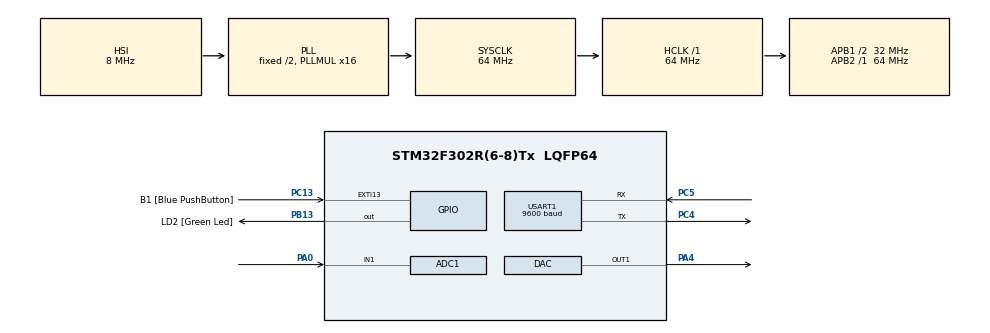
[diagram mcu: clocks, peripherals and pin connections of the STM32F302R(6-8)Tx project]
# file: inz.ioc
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ADC1.Channel-0\#ChannelRegularConversion=ADC_CHANNEL_1
ADC1.ClockPrescaler=ADC_CLOCK_ASYNC_DIV1
ADC1.ContinuousConvMode=ENABLE
ADC1.DMAContinuousRequests=ENABLE
ADC1.DataAlign=ADC_DATAALIGN_RIGHT
ADC1.DiscontinuousConvMode=DISABLE
ADC1.EOCSelection=ADC_EOC_SINGLE_CONV
ADC1.EnableAnalogWatchDog1=false
ADC1.EnableAnalogWatchDog2=false
ADC1.EnableAnalogWatchDog3=false
ADC1.EnableInjectedConversion=ENABLE
ADC1.EnableRegularConversion=ENABLE
ADC1.ExternalTrigConv=ADC_SOFTWARE_START
ADC1.ExternalTrigConvEdge=ADC_EXTERNALTRIGCONVEDGE_NONE
ADC1.InjNumberOfConversion=0
ADC1.LowPowerAutoWait=DISABLE
ADC1.NbrOfConversion=1
ADC1.NbrOfConversionFlag=1
ADC1.Offset-0\#ChannelRegularConversion=0
ADC1.OffsetNumber-0\#ChannelRegularConversion=ADC_OFFSET_NONE
ADC1.Overrun=ADC_OVR_DATA_OVERWRITTEN
ADC1.Rank-0\#ChannelRegularConversion=1
ADC1.Resolution=ADC_RESOLUTION_12B
ADC1.SamplingTime-0\#ChannelRegularConversion=ADC_SAMPLETIME_1CYCLE_5
ADC1.ScanConvMode=ADC_SCAN_DISABLE
ADC1.SubFamily=STM32F302x8
ADC1.master=1
DAC.DAC_Trigger=DAC_TRIGGER_T6_TRGO
Dma.ADC1.1.Direction=DMA_PERIPH_TO_MEMORY
Dma.ADC1.1.Instance=DMA1_Channel1
Dma.ADC1.1.MemDataAlignment=DMA_MDATAALIGN_HALFWORD
Dma.ADC1.1.MemInc=DMA_MINC_ENABLE
Dma.ADC1.1.Mode=DMA_CIRCULAR
Dma.ADC1.1.PeriphDataAlignment=DMA_PDATAALIGN_HALFWORD
Dma.ADC1.1.PeriphInc=DMA_PINC_DISABLE
Dma.ADC1.1.Priority=DMA_PRIORITY_LOW
Dma.DAC_CH1.0.Direction=DMA_MEMORY_TO_PERIPH
Dma.DAC_CH1.0.Instance=DMA1_Channel3
Dma.DAC_CH1.0.MemDataAlignment=DMA_MDATAALIGN_HALFWORD
Dma.DAC_CH1.0.MemInc=DMA_MINC_ENABLE
Dma.DAC_CH1.0.Mode=DMA_CIRCULAR
Dma.DAC_CH1.0.PeriphDataAlignment=DMA_PDATAALIGN_HALFWORD
Dma.DAC_CH1.0.PeriphInc=DMA_PINC_DISABLE
Dma.DAC_CH1.0.Priority=DMA_PRIORITY_LOW
Dma.Request0=DAC_CH1
Dma.Request1=ADC1
Mcu.Family=STM32F3
Mcu.Name=STM32F302R(6-8)Tx
Mcu.Package=LQFP64
NVIC.ADC1_IRQn=true\:0\:0\:false\:false\:true\:true
NVIC.DMA1_Channel1_IRQn=true\:0\:0\:false\:false\:true\:false
NVIC.DMA1_Channel3_IRQn=true\:0\:0\:false\:false\:true\:false
NVIC.PriorityGroup=NVIC_PRIORITYGROUP_0
NVIC.TIM6_DAC_IRQn=true\:0\:0\:false\:false\:true\:true
PA0.Mode=IN1-Single-Ended
PA0.Signal=ADC1_IN1
PA13.GPIO_Label=TMS
PA13.Signal=SYS_JTMS-SWDIO
PA14.GPIO_Label=TCK
PA14.Signal=SYS_JTCK-SWCLK
PA2.GPIO_Label=USART_TX
PA2.GPIO_Mode=GPIO_MODE_AF_PP
PA2.GPIO_PuPd=GPIO_NOPULL
PA2.GPIO_Speed=GPIO_SPEED_FREQ_LOW
PA2.Signal=USART2_TX
PA3.GPIO_Label=USART_RX
PA3.GPIO_Mode=GPIO_MODE_AF_PP
PA3.GPIO_PuPd=GPIO_NOPULL
PA3.GPIO_Speed=GPIO_SPEED_FREQ_LOW
PA3.Signal=USART2_RX
PA4.Signal=COMP_DAC1_group
PB13.GPIO_Label=LD2 [Green Led]
PB13.Signal=GPIO_Output
PB3.GPIO_Label=SWO
PB3.Signal=SYS_JTDO-TRACESWO
PC13.GPIO_Label=B1 [Blue PushButton]
PC13.GPIO_ModeDefaultEXTI=GPIO_MODE_IT_FALLING
PC13.Signal=GPXTI13
PC14\ -\ OSC32_IN.Signal=RCC_OSC32_IN
PC15\ -\ OSC32_OUT.Signal=RCC_OSC32_OUT
PC4.Mode=Asynchronous
PC4.Signal=USART1_TX
PC5.Mode=Asynchronous
PC5.Signal=USART1_RX
PF0-OSC_IN.Signal=RCC_OSC_IN
PF1-OSC_OUT.Signal=RCC_OSC_OUT
ProjectManager.HeapSize=0x200
ProjectManager.StackSize=0x400
ProjectManager.TargetToolchain=TrueSTUDIO
RCC.AHBFreq_Value=64000000
RCC.APB1CLKDivider=RCC_HCLK_DIV2
RCC.APB1Freq_Value=32000000
RCC.APB1TimFreq_Value=64000000
RCC.APB2Freq_Value=64000000
RCC.APB2TimFreq_Value=64000000
RCC.CortexFreq_Value=64000000
RCC.HCLKFreq_Value=64000000
RCC.HSE_VALUE=8000000
RCC.HSI_VALUE=8000000
RCC.LSE_VALUE=32768
RCC.PLLM=8
RCC.PLLMUL=RCC_PLL_MUL16
RCC.PLLN=336
RCC.PLLP=RCC_PLLP_DIV4
RCC.PLLQ=7
RCC.RCC_PLLsource_Clock_Source_FROM_HSE=RCC_HSE_PREDIV_DIV2
RCC.SYSCLKFreq_VALUE=64000000
RCC.SYSCLKSourceVirtual=RCC_SYSCLKSOURCE_PLLCLK
RCC.USBFreq_Value=64000000
SH.COMP_DAC1_group.0=DAC_OUT1,DAC_OUT1
TIM6.AutoReloadPreload=TIM_AUTORELOAD_PRELOAD_ENABLE
TIM6.Period=999
TIM6.Prescaler=16
TIM6.TIM_MasterOutputTrigger=TIM_TRGO_UPDATE
USART1.BaudRate=9600
USART1.VirtualMode-Asynchronous=VM_ASYNC
USART1.WordLength=WORDLENGTH_8B
VP_TIM6_VS_ClockSourceINT.Mode=Enable_Timer
board=NUCLEO-F302R8

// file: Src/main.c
/**
  ******************************************************************************
  * File Name          : main.c
  * Description        : Main program body
  ******************************************************************************
  ** This notice applies to any and all portions of this file
  * that are not between comment pairs USER CODE BEGIN and
  * USER CODE END. Other portions of this file, whether
  * inserted by the user or by software development tools
  * are owned by their respective copyright owners.
  *
  * COPYRIGHT(c) 2017 STMicroelectronics
  *
  * Redistribution and use in source and binary forms, with or without modification,
  * are permitted provided that the following conditions are met:
  *   1. Redistributions of source code must retain the above copyright notice,
  *      this list of conditions and the following disclaimer.
  *   2. Redistributions in binary form must reproduce the above copyright notice,
  *      this list of conditions and the following disclaimer in the documentation
  *      and/or other materials provided with the distribution.
  *   3. Neither the name of STMicroelectronics nor the names of its contributors
  *      may be used to endorse or promote products derived from this software
  *      without specific prior written permission.
  *
  * THIS SOFTWARE IS PROVIDED BY THE COPYRIGHT HOLDERS AND CONTRIBUTORS "AS IS"
  * AND ANY EXPRESS OR IMPLIED WARRANTIES, INCLUDING, BUT NOT LIMITED TO, THE
  * IMPLIED WARRANTIES OF MERCHANTABILITY AND FITNESS FOR A PARTICULAR PURPOSE ARE
  * DISCLAIMED. IN NO EVENT SHALL THE COPYRIGHT HOLDER OR CONTRIBUTORS BE LIABLE
  * FOR ANY DIRECT, INDIRECT, INCIDENTAL, SPECIAL, EXEMPLARY, OR CONSEQUENTIAL
  * DAMAGES (INCLUDING, BUT NOT LIMITED TO, PROCUREMENT OF SUBSTITUTE GOODS OR
  * SERVICES; LOSS OF USE, DATA, OR PROFITS; OR BUSINESS INTERRUPTION) HOWEVER
  * CAUSED AND ON ANY THEORY OF LIABILITY, WHETHER IN CONTRACT, STRICT LIABILITY,
  * OR TORT (INCLUDING NEGLIGENCE OR OTHERWISE) ARISING IN ANY WAY OUT OF THE USE
  * OF THIS SOFTWARE, EVEN IF ADVISED OF THE POSSIBILITY OF SUCH DAMAGE.
  *
  ******************************************************************************
  */
#include "main.h"
#include "stm32f3xx_hal.h"
#include "functions.h"

ADC_HandleTypeDef hadc1;
DMA_HandleTypeDef hdma_adc1;

DAC_HandleTypeDef hdac;
DMA_HandleTypeDef hdma_dac_ch1;

TIM_HandleTypeDef htim6;

UART_HandleTypeDef huart1;

/* USER CODE BEGIN PV */
/* Private variables ---------------------------------------------------------*/

const uint16_t Sine12bit[32] = { 2047, 2447, 2831, 3185, 3498, 3750, 3939, 4056, 4095, 4056,
                      3939, 3750, 3495, 3185, 2831, 2447, 2047, 1647, 1263, 909,
                      599, 344, 155, 38, 0, 38, 155, 344, 599, 909, 1263, 1647};
HAL_StatusTypeDef status= HAL_OK;
uint8_t stan=0;
uint8_t zmienna=0;
uint16_t prescaler=0;
uint16_t PSC_Var1=0;
uint16_t PSC_Var2=0;
uint16_t PSC_Value=0;
uint16_t F_start=0;
uint16_t F_end=0;
uint16_t F_change=0;

/* USER CODE END PV */

void SystemClock_Config(void);
static void MX_GPIO_Init(void);
static void MX_DMA_Init(void);
static void MX_ADC1_Init(void);
static void MX_TIM6_Init(void);
static void MX_DAC_Init(void);
static void MX_USART1_UART_Init(void);

/* USER CODE BEGIN PFP */
/* Private function prototypes -----------------------------------------------*/

/* USER CODE END PFP */

int main(void)
{

  /* MCU Configuration----------------------------------------------------------*/

  /* Reset of all peripherals, Initializes the Flash interface and the Systick. */
  HAL_Init();

  /* Configure the system clock */
  SystemClock_Config();

  /* Initialize all configured peripherals */
  MX_GPIO_Init();
  MX_DMA_Init();
  MX_ADC1_Init();
  MX_TIM6_Init();
  MX_DAC_Init();
  MX_USART1_UART_Init();

  /* USER CODE BEGIN 2 */

  HAL_TIM_Base_Start(&htim6);
  HAL_DAC_Start(&hdac,DAC_CHANNEL_1);
  HAL_DAC_Start_DMA(&hdac,DAC_CHANNEL_1,Sine12bit,32,DAC_ALIGN_12B_R);
  /*ADC*/

  /* USER CODE END 2 */

  /* Infinite loop */
  while (1)
  {
	  switch(stan){
	  	  case 0:
	  	  {
	  		  status=HAL_UART_Receive(&huart1,&zmienna,1,1000);
	  			if(status == HAL_OK)
	  			{
	  				switch(zmienna)
	  				{
	  					case 97:{
	  							Measure_and_send( Sine12bit);
	  							zmienna=0;
	  					}break;
	  					case 99:{
	  							stan=1;
	  							zmienna=0;
	  					}break;
	  					case 105:{
	  							stan=3;
	  							zmienna=0;
	  					}break;
	  				}
	  			}
	  	  }	break;

	  	  case 1:
	  	  {

	  			status=HAL_UART_Receive(&huart1,&PSC_Var1,1,1000);
	  			if(status == HAL_OK)
	  				{
	  					stan=2;
	  				}
	  	  }break;
	  	  case 2:
	  	  {
	  		  status=HAL_UART_Receive(&huart1,&PSC_Var2,1,1000);
	  		  if(status == HAL_OK)
	  		  {
	  			  PSC_Value=PSC_Var1+PSC_Var2*256; //Prescaler value
	  			  HAL_UART_Transmit(&huart1,&PSC_Value,2,1000);
	  			  Change_Freq_Manualy(Sine12bit,PSC_Value);
	  			  stan=0;
	  		  }
	  	  }break;
	  	  case 3:{
	  		  	  status=HAL_UART_Receive(&huart1,&F_start,1,1000);
	  			  if(status == HAL_OK)
	  			  {
	  				  stan=4;
	  			  }
	  	  }break;
	  	  case 4:{
	  		  	 status=HAL_UART_Receive(&huart1,&F_end,1,1000);
	  		 	 if(status == HAL_OK)
	  			 {
	  		 		 stan=5;
	  			 }
	  	  }break;
	  	  case 5:{
	  		  	status=HAL_UART_Receive(&huart1,&F_change,1,1000);
	  		  	if(status == HAL_OK)
	  		  	{
	  		  		Impedance_auto_measure(F_start, F_end,F_change,Sine12bit);
	  		  		stan=0;
	  		  	}
	  	 }break;
	  	  default:
	  		  break;
   }
}
}
/** System Clock Configuration
*/
void SystemClock_Config(void)
{

  RCC_OscInitTypeDef RCC_OscInitStruct;
  RCC_ClkInitTypeDef RCC_ClkInitStruct;
  RCC_PeriphCLKInitTypeDef PeriphClkInit;

    /**Initializes the CPU, AHB and APB busses clocks
    */
  RCC_OscInitStruct.OscillatorType = RCC_OSCILLATORTYPE_HSI;
  RCC_OscInitStruct.HSIState = RCC_HSI_ON;
  RCC_OscInitStruct.HSICalibrationValue = 16;
  RCC_OscInitStruct.PLL.PLLState = RCC_PLL_ON;
  RCC_OscInitStruct.PLL.PLLSource = RCC_PLLSOURCE_HSI;
  RCC_OscInitStruct.PLL.PLLMUL = RCC_PLL_MUL16;
  if (HAL_RCC_OscConfig(&RCC_OscInitStruct) != HAL_OK)
  {
    _Error_Handler(__FILE__, __LINE__);
  }

    /**Initializes the CPU, AHB and APB busses clocks
    */
  RCC_ClkInitStruct.ClockType = RCC_CLOCKTYPE_HCLK|RCC_CLOCKTYPE_SYSCLK
                              |RCC_CLOCKTYPE_PCLK1|RCC_CLOCKTYPE_PCLK2;
  RCC_ClkInitStruct.SYSCLKSource = RCC_SYSCLKSOURCE_PLLCLK;
  RCC_ClkInitStruct.AHBCLKDivider = RCC_SYSCLK_DIV1;
  RCC_ClkInitStruct.APB1CLKDivider = RCC_HCLK_DIV2;
  RCC_ClkInitStruct.APB2CLKDivider = RCC_HCLK_DIV1;

  if (HAL_RCC_ClockConfig(&RCC_ClkInitStruct, FLASH_LATENCY_2) != HAL_OK)
  {
    _Error_Handler(__FILE__, __LINE__);
  }

  PeriphClkInit.PeriphClockSelection = RCC_PERIPHCLK_USART1|RCC_PERIPHCLK_ADC1;
  PeriphClkInit.Usart1ClockSelection = RCC_USART1CLKSOURCE_PCLK1;
  PeriphClkInit.Adc1ClockSelection = RCC_ADC1PLLCLK_DIV1;

  if (HAL_RCCEx_PeriphCLKConfig(&PeriphClkInit) != HAL_OK)
  {
    _Error_Handler(__FILE__, __LINE__);
  }

    /**Configure the Systick interrupt time
    */
  HAL_SYSTICK_Config(HAL_RCC_GetHCLKFreq()/1000);

    /**Configure the Systick
    */
  HAL_SYSTICK_CLKSourceConfig(SYSTICK_CLKSOURCE_HCLK);

  /* SysTick_IRQn interrupt configuration */
  HAL_NVIC_SetPriority(SysTick_IRQn, 0, 0);
}

/* ADC1 init function */
static void MX_ADC1_Init(void)
{

  ADC_ChannelConfTypeDef sConfig;

    /**Common config
    */
  hadc1.Instance = ADC1;
  hadc1.Init.ClockPrescaler = ADC_CLOCK_ASYNC_DIV1;
  hadc1.Init.Resolution = ADC_RESOLUTION_12B;
  hadc1.Init.ScanConvMode = ADC_SCAN_DISABLE;
  hadc1.Init.ContinuousConvMode = ENABLE;
  hadc1.Init.DiscontinuousConvMode = DISABLE;
  hadc1.Init.ExternalTrigConvEdge = ADC_EXTERNALTRIGCONVEDGE_NONE;
  hadc1.Init.ExternalTrigConv = ADC_SOFTWARE_START;
  hadc1.Init.DataAlign = ADC_DATAALIGN_RIGHT;
  hadc1.Init.NbrOfConversion = 1;
  hadc1.Init.DMAContinuousRequests = ENABLE;
  hadc1.Init.EOCSelection = ADC_EOC_SINGLE_CONV;
  hadc1.Init.LowPowerAutoWait = DISABLE;
  hadc1.Init.Overrun = ADC_OVR_DATA_OVERWRITTEN;
  if (HAL_ADC_Init(&hadc1) != HAL_OK)
  {
    _Error_Handler(__FILE__, __LINE__);
  }

    /**Configure Regular Channel
    */
  sConfig.Channel = ADC_CHANNEL_1;
  sConfig.Rank = 1;
  sConfig.SingleDiff = ADC_SINGLE_ENDED;
  sConfig.SamplingTime = ADC_SAMPLETIME_1CYCLE_5;
  sConfig.OffsetNumber = ADC_OFFSET_NONE;
  sConfig.Offset = 0;
  if (HAL_ADC_ConfigChannel(&hadc1, &sConfig) != HAL_OK)
  {
    _Error_Handler(__FILE__, __LINE__);
  }

}

/* DAC init function */
static void MX_DAC_Init(void)
{

  DAC_ChannelConfTypeDef sConfig;

    /**DAC Initialization
    */
  hdac.Instance = DAC;
  if (HAL_DAC_Init(&hdac) != HAL_OK)
  {
    _Error_Handler(__FILE__, __LINE__);
  }

    /**DAC channel OUT1 config
    */
  sConfig.DAC_Trigger = DAC_TRIGGER_T6_TRGO;
  sConfig.DAC_OutputBuffer = DAC_OUTPUTBUFFER_ENABLE;
  if (HAL_DAC_ConfigChannel(&hdac, &sConfig, DAC_CHANNEL_1) != HAL_OK)
  {
    _Error_Handler(__FILE__, __LINE__);
  }

}

/* TIM6 init function */
static void MX_TIM6_Init(void)
{

  TIM_MasterConfigTypeDef sMasterConfig;

  htim6.Instance = TIM6;
  htim6.Init.Prescaler = 24;
  htim6.Init.CounterMode = TIM_COUNTERMODE_UP;
  htim6.Init.Period = 99;
  htim6.Init.AutoReloadPreload = TIM_AUTORELOAD_PRELOAD_ENABLE;
  if (HAL_TIM_Base_Init(&htim6) != HAL_OK)
  {
    _Error_Handler(__FILE__, __LINE__);
  }

  sMasterConfig.MasterOutputTrigger = TIM_TRGO_UPDATE;
  sMasterConfig.MasterSlaveMode = TIM_MASTERSLAVEMODE_DISABLE;
  if (HAL_TIMEx_MasterConfigSynchronization(&htim6, &sMasterConfig) != HAL_OK)
  {
    _Error_Handler(__FILE__, __LINE__);
  }

}

/* USART1 init function */
static void MX_USART1_UART_Init(void)
{

  huart1.Instance = USART1;
  huart1.Init.BaudRate = 9600;
  huart1.Init.WordLength = UART_WORDLENGTH_8B;
  huart1.Init.StopBits = UART_STOPBITS_1;
  huart1.Init.Parity = UART_PARITY_NONE;
  huart1.Init.Mode = UART_MODE_TX_RX;
  huart1.Init.HwFlowCtl = UART_HWCONTROL_NONE;
  huart1.Init.OverSampling = UART_OVERSAMPLING_16;
  huart1.Init.OneBitSampling = UART_ONE_BIT_SAMPLE_DISABLE;
  huart1.AdvancedInit.AdvFeatureInit = UART_ADVFEATURE_NO_INIT;
  if (HAL_UART_Init(&huart1) != HAL_OK)
  {
    _Error_Handler(__FILE__, __LINE__);
  }

}

static void MX_DMA_Init(void)
{
  /* DMA controller clock enable */
  __HAL_RCC_DMA1_CLK_ENABLE();

  /* DMA interrupt init */
  /* DMA1_Channel1_IRQn interrupt configuration */
  HAL_NVIC_SetPriority(DMA1_Channel1_IRQn, 0, 0);
  HAL_NVIC_EnableIRQ(DMA1_Channel1_IRQn);
  /* DMA1_Channel3_IRQn interrupt configuration */
  HAL_NVIC_SetPriority(DMA1_Channel3_IRQn, 0, 0);
  HAL_NVIC_EnableIRQ(DMA1_Channel3_IRQn);

}

/** Configure pins as
        * Analog
        * Input
        * Output
        * EVENT_OUT
        * EXTI
     PA2   ------> USART2_TX
     PA3   ------> USART2_RX
*/
static void MX_GPIO_Init(void)
{

  GPIO_InitTypeDef GPIO_InitStruct;

  /* GPIO Ports Clock Enable */
  __HAL_RCC_GPIOC_CLK_ENABLE();
  __HAL_RCC_GPIOF_CLK_ENABLE();
  __HAL_RCC_GPIOA_CLK_ENABLE();
  __HAL_RCC_GPIOB_CLK_ENABLE();

  /*Configure GPIO pin Output Level */
  HAL_GPIO_WritePin(LD2_GPIO_Port, LD2_Pin, GPIO_PIN_RESET);

  /*Configure GPIO pin : B1_Pin */
  GPIO_InitStruct.Pin = B1_Pin;
  GPIO_InitStruct.Mode = GPIO_MODE_IT_FALLING;
  GPIO_InitStruct.Pull = GPIO_NOPULL;
  HAL_GPIO_Init(B1_GPIO_Port, &GPIO_InitStruct);

  /*Configure GPIO pins : USART_TX_Pin USART_RX_Pin */
  GPIO_InitStruct.Pin = USART_TX_Pin|USART_RX_Pin;
  GPIO_InitStruct.Mode = GPIO_MODE_AF_PP;
  GPIO_InitStruct.Pull = GPIO_NOPULL;
  GPIO_InitStruct.Speed = GPIO_SPEED_FREQ_LOW;
  GPIO_InitStruct.Alternate = GPIO_AF7_USART2;
  HAL_GPIO_Init(GPIOA, &GPIO_InitStruct);

  /*Configure GPIO pin : LD2_Pin */
  GPIO_InitStruct.Pin = LD2_Pin;
  GPIO_InitStruct.Mode = GPIO_MODE_OUTPUT_PP;
  GPIO_InitStruct.Pull = GPIO_NOPULL;
  GPIO_InitStruct.Speed = GPIO_SPEED_FREQ_LOW;
  HAL_GPIO_Init(LD2_GPIO_Port, &GPIO_InitStruct);

}

void _Error_Handler(char * file, int line)
{
  while(1)
  {
  }
}

/************************ (C) COPYRIGHT STMicroelectronics *****END OF FILE****/
